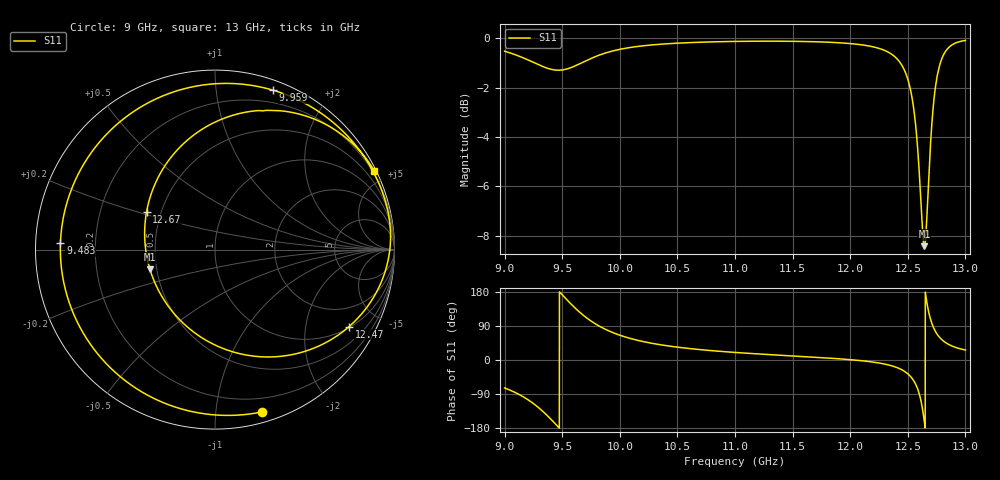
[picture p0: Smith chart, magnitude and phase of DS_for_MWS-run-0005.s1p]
! TOUCHSTONE file generated by CST DESIGN STUDIO
! Date and time: Tue Feb  4 16:12:20 2025
! Project name: C:\Work\MatlabApps\UnitCellOptimizationMatlab\CST\unitcell.cst
! Tree item: Tasks\Sweep1\SPara1\S-Parameters
! Header version: 2024
! Port assignment regex: !\s*Touchstone port\s*([0-9]+)\s*=\s*(CST MWS port|CST DES external port|CST DES block port)\s*(.+)\s* \(\"(.*)\"\)(\s*mode\s*([0-9]+))?.*
! Touchstone port assignment:
! Touchstone port 1 = CST DES external port 1 ("")
# GHz S MA R 50
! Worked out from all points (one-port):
!   4001 points, 9 GHz to 13 GHz, reference 50 ohm
!   lowest |S11| = -8.4 dB at 12.64 GHz (marker M1), VSWR 2.22, Z = 22.9 - j5.84 ohm
!   |S11| at or under -10 dB: nowhere
!   S11 on the Smith chart (normalised r, x): 9 GHz: 0.08, -1.33; 9.483 GHz: 0.07, +0.02; 9.959 GHz: 0.09, +1.43; 12.47 GHz: 1.04, -3.46; 12.67 GHz: 0.41, +0.22; 13 GHz: 0.10, +4.27
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9  0.9417 -73.9
9.152  0.9147 -95.4
9.265  0.8904 -118.4
9.391  0.8667 -152.9
9.483  0.8619 177.6
9.5  0.8627 172.1
9.607  0.8781 138.6
9.703  0.8998 113.3
9.812  0.9228 91.1
9.959  0.9452 70.0
10  0.9498 65.4
10.214  0.9664 47.9
10.5  0.9776 33.9
11  0.9856 20.0
11.5  0.9861 10.7
12  0.9758 0.9
12.319  0.9403 -12.1
12.471  0.8614 -29.9
12.5  0.8261 -36.4
12.546  0.7347 -52.2
12.588  0.5873 -78.3
12.616  0.4564 -110.1
12.644  0.3788 -163.3
12.666  0.436 150.9
12.705  0.6521 100.0
12.746  0.8133 72.2
12.842  0.9504 43.2
13  0.99 26.3
